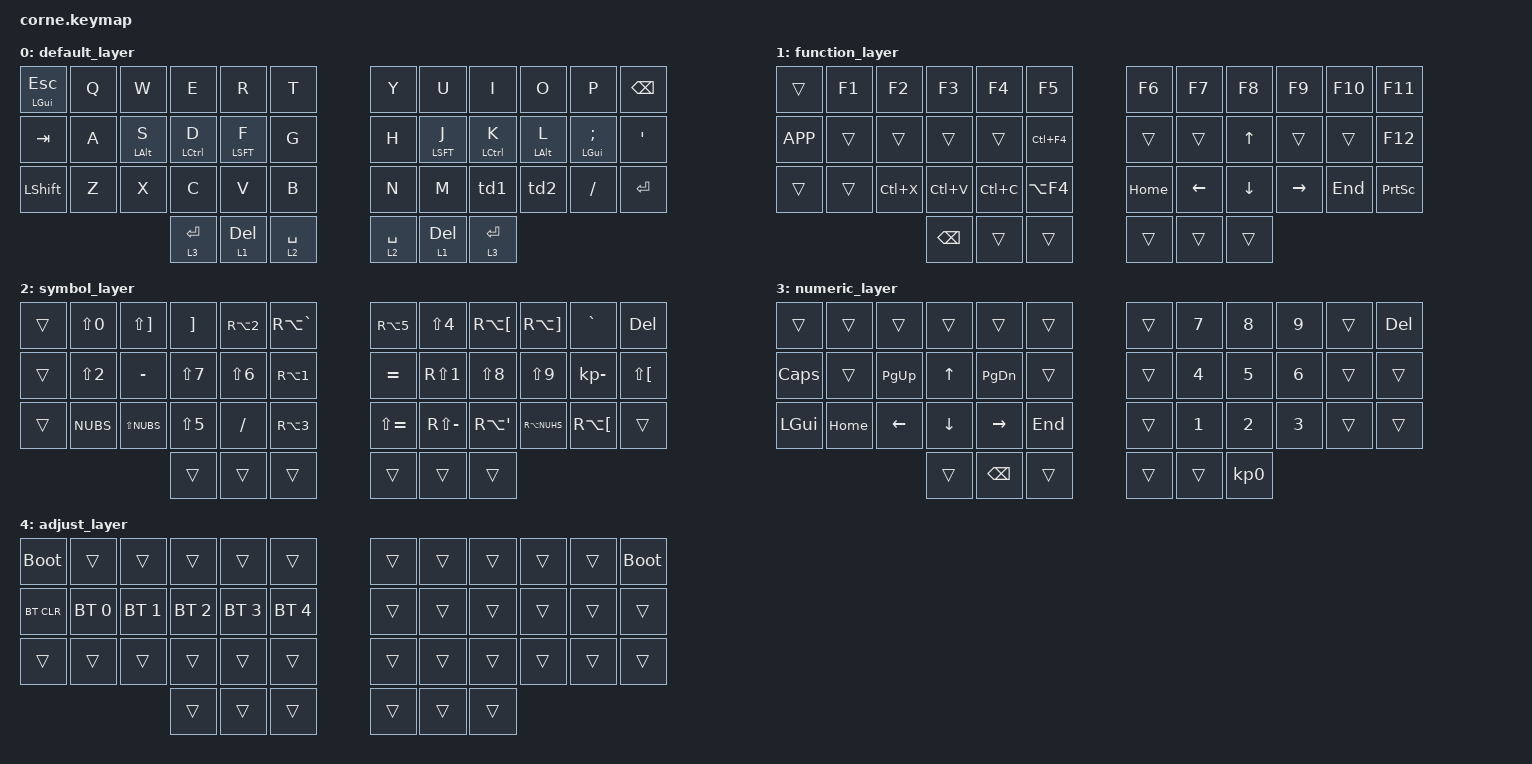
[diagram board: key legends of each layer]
/*
 * Copyright (c) 2020 The ZMK Contributors
 *
 * SPDX-License-Identifier: MIT
 */

#include <behaviors.dtsi>
#include <dt-bindings/zmk/keys.h>
#include <dt-bindings/zmk/bt.h>
// #include <dt-bindings/led/led.h>

/ {

    behaviors {

        // lh_pht: left_hand_positional_hold_tap {
        //     compatible = "zmk,behavior-hold-tap";
        //     label = "LEFT_POSITIONAL_HOLD_TAP";
        //     #binding-cells = <2>;
        //     flavor = "tap-unless-interrupted";
        //     tapping-term-ms = <100>;                        // <---[[produces tap if held longer than tapping-term-ms]]
        //     quick-tap-ms = <200>;
        //     bindings = <&kp>, <&kp>;
        //     // hold-trigger-key-positions = <5 6 7 8 9 10>;    // <---[[right-hand keys]]
        // };

        td0: tap_dance_0 {
            compatible = "zmk,behavior-tap-dance";
            label = "TAP_DANCE_0";
            #binding-cells = <0>;
            tapping-term-ms = <200>;
            bindings = <&kp LSFT>, <&kp CAPS>;
        };

        td1: tap_dance_1 {
            compatible = "zmk,behavior-tap-dance";
            label = "TAP_DANCE_1";
            #binding-cells = <0>;
            tapping-term-ms = <200>;
            bindings = <&kp COMMA>, <&kp LS(COMMA)>;
        };

        td2: tap_dance_2 {
            compatible = "zmk,behavior-tap-dance";
            label = "TAP_DANCE_2";
            #binding-cells = <0>;
            tapping-term-ms = <200>;
            bindings = <&kp DOT>, <&kp LS(DOT)>;
        };

        hm: homerow_mods {
            compatible = "zmk,behavior-hold-tap";
            label = "HOMEROW_MODS";
            #binding-cells = <2>;
            tapping-term-ms = <150>;
            quick-tap-ms = <0>;
            flavor = "tap-preferred";
            bindings = <&kp>, <&kp>;
        };

     };

    conditional_layers {
        compatible = "zmk,conditional-layers";
        tri_layer {
            if-layers = <1 2>;
            then-layer = <4>;
        };
    };

	// led_strip: ws2812@0 {
	// 	compatible = "worldsemi,ws2812-spi";
	// 	label = "SK6812mini";

	// 	reg = <0>; /* ignored, but necessary for SPI bindings */
	// 	spi-max-frequency = <4000000>;

	// 	/* WS2812 */
	// 	chain-length = <54>; /* There are per-key RGB, but the first 6 are underglow */
	// 	spi-one-frame = <0x70>;
	// 	spi-zero-frame = <0x40>;

	// 	color-mapping = <LED_COLOR_ID_GREEN LED_COLOR_ID_RED LED_COLOR_ID_BLUE>;
	// };

    // chosen {
    //     zmk,underglow = &led_strip;
    // };


    keymap {
                compatible = "zmk,keymap";

                default_layer {
// -----------------------------------------------------------------------------------------
// |  TAB |  Q  |  W  |  E  |  R  |  T  |   |  Y  |  U   |  I  |  O  |  P  | BKSP |
// | CTRL |  A  |  S  |  D  |  F  |  G  |   |  H  |  J   |  K  |  L  |  Ñ  |  '   |
// | SHFT |  Z  |  X  |  C  |  V  |  B  |   |  N  |  M   |  ,  |  .  |  -  | RET  |
//                    | N/R | F/D | S/S |   | N/R | F/D  | N/R |
                        bindings = <
   &hm LGUI ESC   &kp Q      &kp W      &kp E      &kp R      &kp T   &kp Y &kp U       &kp I      &kp O       &kp P         &kp BSPC
   &kp TAB        &kp A      &hm LALT S &hm LCTL D &hm LSFT F &kp G   &kp H &hm LSFT J  &hm LCTL K &hm LALT L  &hm LGUI SEMI &kp SQT
   &kp LSHFT      &kp Z      &kp X      &kp C      &kp V      &kp B   &kp N &kp M       &td1       &td2        &kp FSLH      &kp RET
                  &lt 3 RET &lt 1 DEL &lt 2 SPACE        &lt 2 SPACE &lt 1 DEL &lt 3 RET
                        >;
                };

                function_layer {
// -----------------------------------------------------------------------------------------
// |      | F1  | F2  | F3  | F4  | F5  |   | F6  | F7  | F8  | F9  | F0  |  F11 |
// | APP  |     |     |     |     |C(4) |   |     |     |  UP |     |     |      |
// |      |     | C(X)| C(V)| C(C)|A(5) |   | HOME| LEFT| DOWN| RIGH| END | PRINT|
//                    | GUI |     | SPC |   | ENT |     | ALT |
                        bindings = <
   &trans     &kp F1       &kp F2       &kp F3       &kp F4       &kp F5         &kp F6   &kp F7   &kp F8   &kp F9    &kp F10 &kp F11
   &kp K_APP  &trans       &trans       &trans       &trans       &kp LC(F4)     &trans   &trans   &kp UP   &trans    &trans  &kp F12
   &trans     &trans       &kp LC(X)    &kp LC(V)    &kp LC(C)    &kp LA(F4)     &kp HOME &kp LEFT &kp DOWN &kp RIGHT &kp END &kp PSCRN
                          	            &kp BSPC     &trans       &trans         &trans   &trans   &trans
                        >;
                };

                symbol_layer {
// -----------------------------------------------------------------------------------------
// |  TAB |  =  |  *  |  +  |  @  |  \  |   |  €  |  $  |  [  |  ]  |  º  | DEL  |
// | CTRL |  "  |  '  |  /  |  &  |  |  |   |  ¡  |  !  |  (  |  )  |  '  |  ^   |
// | SHFT |  <  |  >  |  %  |  -  |  #  |   |  ¿  |  ?  |  {  |  }  |  `  |      |
//                    | GUI |     | SPC |   | ENT |     | ALT |
                        bindings = <
   &trans  &kp LS(N0) &kp LS(RBKT)  &kp RBKT     &kp RA(N2)   &kp RA(GRAVE)       &kp RA(N5)       &kp LS(N4)        &kp RA(LBKT) &kp RA(RBKT)   &kp GRAVE    &kp DEL
   &trans  &kp LS(N2) &kp MINUS     &kp LS(N7)   &kp LS(N6)   &kp RA(N1)          &kp EQUAL        &kp RS(N1)        &kp LS(N8)   &kp LS(N9)     &kp KP_MINUS &kp LS(LBKT)
   &trans  &kp NUBS   &kp LS(NUBS)  &kp LS(N5)   &kp FSLH     &kp RA(N3)          &kp LS(EQUAL)    &kp RS(MINUS)     &kp RA(APOS) &kp RA(NUHS)   &kp RA(LBKT)     &trans
                    	            &trans       &trans       &trans              &trans           &trans            &trans
                        >;
                };

                numeric_layer {
// -----------------------------------------------------------------------------------------
// |      |     |     |     |     |     |   |     |     |     |     |     | BKSP |
// | CAPS |     |     |     |     |     |   |     |     |     |     |     |      |
// | GUI  |     |     |     |     |     |   |     |     |     |     |     |      |
//                    | GUI |     | SPC |   | ENT |     | ALT |
                        bindings = <
   &trans     &trans     &trans         &trans       &trans       &trans       &trans   &kp N7   &kp N8 &kp N9    &trans &kp DEL
   &kp CAPS   &trans     &kp PG_UP      &kp UP       &kp PG_DN    &trans       &trans   &kp N4   &kp N5 &kp N6    &trans &trans
   &kp LGUI   &kp HOME   &kp LEFT       &kp DOWN     &kp RIGHT    &kp END      &trans   &kp N1   &kp N2 &kp N3    &trans &trans
                          	            &trans       &kp BSPC     &trans       &trans   &trans   &kp KP_N0
                        >;
                };

                 adjust_layer {
// -----------------------------------------------------------------------------------------
// |      |     |     |     |     |     |   |     |     |     |     |     |      |
// | BTCLR| BT1 | BT2 | BT3 | BT4 | BT5 |   |     |     |     |     |     |      |
// |      |     |     |     |     |     |   |     |     |     |     |     |      |
//                    |     |     |     |   |     |     |     |
                        bindings = <
   &bootloader &trans       &trans       &trans       &trans       &trans         &trans   &trans   &trans &trans    &trans &bootloader
   &bt BT_CLR  &bt BT_SEL 0 &bt BT_SEL 1 &bt BT_SEL 2 &bt BT_SEL 3 &bt BT_SEL 4   &trans   &trans   &trans &trans    &trans &trans
   &trans      &trans       &trans       &trans       &trans       &trans         &trans   &trans   &trans &trans    &trans &trans
                          	             &trans       &trans       &trans         &trans   &trans   &trans
                        >;
                };

        };
        
};
